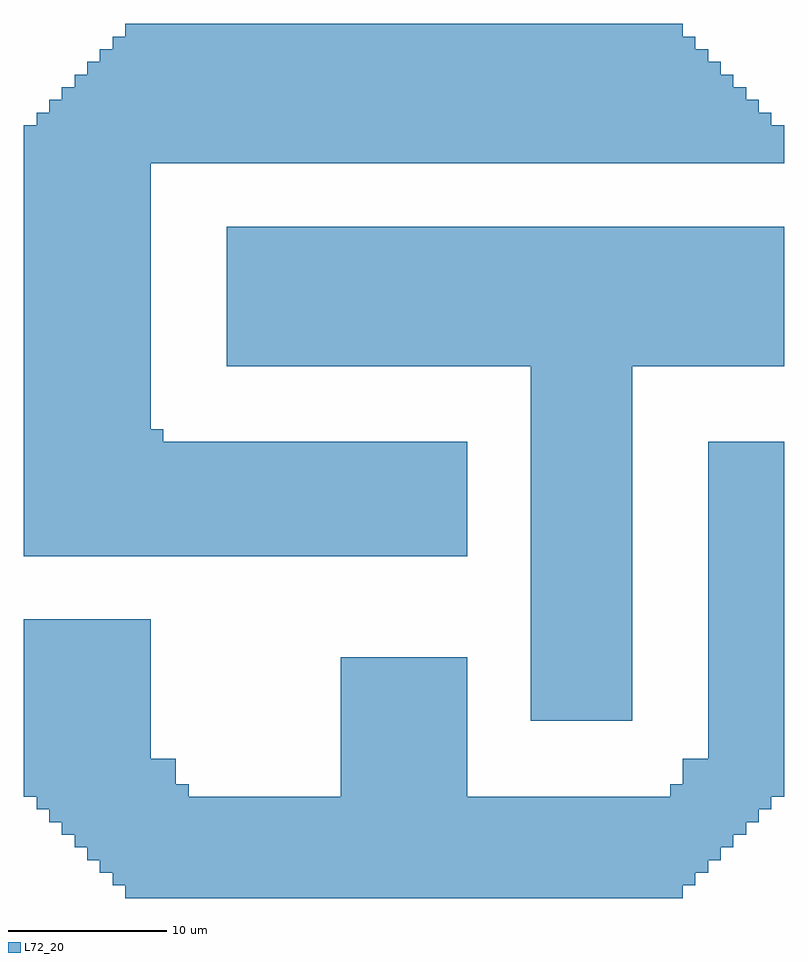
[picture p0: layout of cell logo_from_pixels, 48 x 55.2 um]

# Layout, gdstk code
import gdstk
lib = gdstk.Library(unit=1e-6, precision=1e-09)
def R(c, l, rs):  # rectangles x0, y0, x1, y1
    for r in rs: c.add(gdstk.rectangle(r[:2], r[2:], *l))
L72_20 = (72, 20)

logo_from_pixels = lib.new_cell('logo_from_pixels')
R(logo_from_pixels, L72_20, [(8,0,43.2,0.8), (7.2,0.8,44,1.6), (6.4,1.6,44.8,2.4), (5.6,2.4,45.6,3.2), (4.8,3.2,46.4,4), (4,4,47.2,4.8), (3.2,4.8,48,5.6), (2.4,5.6,48.8,6.4), (1.6,6.4,12,7.2), (21.6,6.4,29.6,15.2), (42.4,6.4,49.6,7.2), (1.6,7.2,11.2,8.8), (43.2,7.2,49.6,8.8), (1.6,8.8,9.6,17.6), (44.8,8.8,49.6,28.8), (33.6,11.2,40,33.6), (1.6,21.6,29.6,28.8), (1.6,28.8,10.4,29.6), (1.6,29.6,9.6,46.4), (14.4,33.6,49.6,42.4), (1.6,46.4,49.6,48.8), (2.4,48.8,48.8,49.6), (3.2,49.6,48,50.4), (4,50.4,47.2,51.2), (4.8,51.2,46.4,52), (5.6,52,45.6,52.8), (6.4,52.8,44.8,53.6), (7.2,53.6,44,54.4), (8,54.4,43.2,55.2)])

lib.write_gds('logo_from_pixels.gds')
